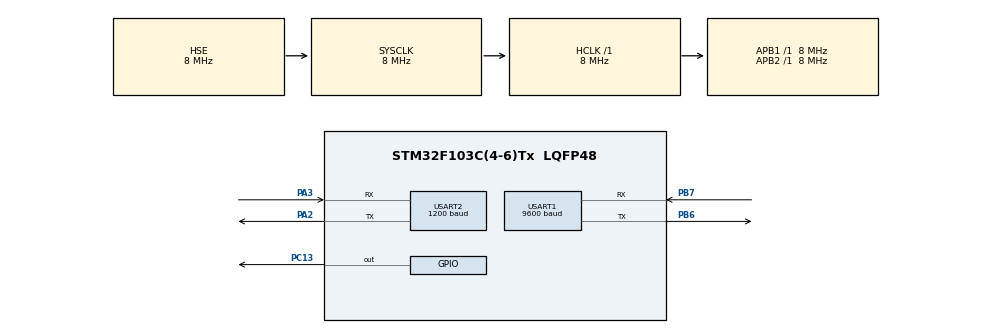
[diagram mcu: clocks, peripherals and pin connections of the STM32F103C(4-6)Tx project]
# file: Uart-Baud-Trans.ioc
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Mcu.Family=STM32F1
Mcu.Name=STM32F103C(4-6)Tx
Mcu.Package=LQFP48
NVIC.PriorityGroup=NVIC_PRIORITYGROUP_4
NVIC.USART1_IRQn=true\:0\:0\:false\:false\:true\:true\:true
NVIC.USART2_IRQn=true\:0\:0\:false\:false\:true\:true\:true
PA13.Mode=Serial_Wire
PA13.Signal=SYS_JTMS-SWDIO
PA14.Mode=Serial_Wire
PA14.Signal=SYS_JTCK-SWCLK
PA2.Mode=Asynchronous
PA2.Signal=USART2_TX
PA3.Mode=Asynchronous
PA3.Signal=USART2_RX
PB6.Mode=Asynchronous
PB6.Signal=USART1_TX
PB7.Mode=Asynchronous
PB7.Signal=USART1_RX
PC13-TAMPER-RTC.Signal=GPIO_Output
PD0-OSC_IN.Mode=HSE-External-Oscillator
PD0-OSC_IN.Signal=RCC_OSC_IN
PD1-OSC_OUT.Mode=HSE-External-Oscillator
PD1-OSC_OUT.Signal=RCC_OSC_OUT
ProjectManager.HeapSize=0x200
ProjectManager.StackSize=0x400
ProjectManager.TargetToolchain=MDK-ARM V5.27
RCC.AHBFreq_Value=8000000
RCC.APB1Freq_Value=8000000
RCC.APB1TimFreq_Value=8000000
RCC.APB2Freq_Value=8000000
RCC.APB2TimFreq_Value=8000000
RCC.HCLKFreq_Value=8000000
RCC.PLLSourceVirtual=RCC_PLLSOURCE_HSE
RCC.SYSCLKFreq_VALUE=8000000
RCC.SYSCLKSource=RCC_SYSCLKSOURCE_HSE
RCC.USBFreq_Value=16000000
USART1.BaudRate=9600
USART1.VirtualMode=VM_ASYNC
USART2.BaudRate=1200
USART2.VirtualMode=VM_ASYNC
board=custom

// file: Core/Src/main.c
/* USER CODE BEGIN Header */
/**
  ******************************************************************************
  * @file           : main.c
  * @brief          : Main program body
  ******************************************************************************
  * @attention
  *
  * <h2><center>&copy; Copyright (c) 2021 STMicroelectronics.
  * All rights reserved.</center></h2>
  *
  * This software component is licensed by ST under BSD 3-Clause license,
  * the "License"; You may not use this file except in compliance with the
  * License. You may obtain a copy of the License at:
  *                        opensource.org/licenses/BSD-3-Clause
  *
  ******************************************************************************
  */
/* USER CODE END Header */
#include "main.h"

/* USER CODE BEGIN Includes */
#include "circular-byte-buffer.h"

/* USER CODE END Includes */

UART_HandleTypeDef huart1;
UART_HandleTypeDef huart2;

void SystemClock_Config(void);
static void MX_GPIO_Init(void);
static void MX_USART1_UART_Init(void);
static void MX_USART2_UART_Init(void);

/* USER CODE BEGIN 0 */
CIRC_BBUF_DEF(uart1_tx, 256);
CIRC_BBUF_DEF(uart2_tx, 256);

uint8_t uart1_rx[256];
uint8_t uart2_rx[256];

void UART1_RxEventCallback(UART_HandleTypeDef *huart, uint16_t pos)
{
  uint16_t i;
  if (pos > 0) {
  	for (i = 0; i < pos; i++)
  	  circ_bbuf_push(&uart2_tx, uart1_rx[i]);

    HAL_GPIO_TogglePin(GPIOC, GPIO_PIN_13);
  }
	HAL_UARTEx_ReceiveToIdle_IT(&huart1, uart1_rx, sizeof(uart1_rx));
}

void UART2_RxEventCallback(UART_HandleTypeDef *huart, uint16_t pos)
{
  uint16_t i;
  if (pos > 0) {
  	for (i = 0; i < pos; i++)
  	  circ_bbuf_push(&uart1_tx, uart2_rx[i]);

    HAL_GPIO_TogglePin(GPIOC, GPIO_PIN_13);
  }
	HAL_UARTEx_ReceiveToIdle_IT(&huart2, uart2_rx, sizeof(uart2_rx));
}

void UART1_ErrorCallback(UART_HandleTypeDef *huart)
{
	HAL_UARTEx_ReceiveToIdle_IT(&huart1, uart1_rx, sizeof(uart1_rx));
}

void UART2_ErrorCallback(UART_HandleTypeDef *huart)
{
	HAL_UARTEx_ReceiveToIdle_IT(&huart2, uart2_rx, sizeof(uart2_rx));
}

/* USER CODE END 0 */

int main(void)
{

  /* MCU Configuration--------------------------------------------------------*/

  /* Reset of all peripherals, Initializes the Flash interface and the Systick. */
  HAL_Init();

  /* Configure the system clock */
  SystemClock_Config();

  /* Initialize all configured peripherals */
  MX_GPIO_Init();
  MX_USART1_UART_Init();
  MX_USART2_UART_Init();
  /* USER CODE BEGIN 2 */

  HAL_UART_RegisterRxEventCallback(&huart1, UART1_RxEventCallback);
  HAL_UART_RegisterRxEventCallback(&huart2, UART2_RxEventCallback);
  HAL_UART_RegisterCallback(&huart1, HAL_UART_ERROR_CB_ID, UART1_ErrorCallback);
  HAL_UART_RegisterCallback(&huart2, HAL_UART_ERROR_CB_ID, UART2_ErrorCallback);

  HAL_UARTEx_ReceiveToIdle_IT(&huart1, uart1_rx, sizeof(uart1_rx));
  HAL_UARTEx_ReceiveToIdle_IT(&huart2, uart2_rx, sizeof(uart2_rx));

  /* USER CODE END 2 */

  /* Infinite loop */
  /* USER CODE BEGIN WHILE */
  while (1)
  {
    uint8_t bdata;

    if (!circ_bbuf_pop(&uart1_tx, &bdata)) {
      HAL_UART_Transmit(&huart1, &bdata, 1, 500);
    }
    if (!circ_bbuf_pop(&uart2_tx, &bdata)) {
      HAL_UART_Transmit(&huart2, &bdata, 1, 500);
    }
    /* USER CODE END WHILE */

  }
}

void SystemClock_Config(void)
{
  RCC_OscInitTypeDef RCC_OscInitStruct = {0};
  RCC_ClkInitTypeDef RCC_ClkInitStruct = {0};

  /** Initializes the RCC Oscillators according to the specified parameters
  * in the RCC_OscInitTypeDef structure.
  */
  RCC_OscInitStruct.OscillatorType = RCC_OSCILLATORTYPE_HSE;
  RCC_OscInitStruct.HSEState = RCC_HSE_ON;
  RCC_OscInitStruct.PLL.PLLState = RCC_PLL_NONE;
  if (HAL_RCC_OscConfig(&RCC_OscInitStruct) != HAL_OK)
  {
    Error_Handler();
  }
  /** Initializes the CPU, AHB and APB buses clocks
  */
  RCC_ClkInitStruct.ClockType = RCC_CLOCKTYPE_HCLK|RCC_CLOCKTYPE_SYSCLK
                              |RCC_CLOCKTYPE_PCLK1|RCC_CLOCKTYPE_PCLK2;
  RCC_ClkInitStruct.SYSCLKSource = RCC_SYSCLKSOURCE_HSE;
  RCC_ClkInitStruct.AHBCLKDivider = RCC_SYSCLK_DIV1;
  RCC_ClkInitStruct.APB1CLKDivider = RCC_HCLK_DIV1;
  RCC_ClkInitStruct.APB2CLKDivider = RCC_HCLK_DIV1;

  if (HAL_RCC_ClockConfig(&RCC_ClkInitStruct, FLASH_LATENCY_0) != HAL_OK)
  {
    Error_Handler();
  }
}

static void MX_USART1_UART_Init(void)
{

  huart1.Instance = USART1;
  huart1.Init.BaudRate = 9600;
  huart1.Init.WordLength = UART_WORDLENGTH_8B;
  huart1.Init.StopBits = UART_STOPBITS_1;
  huart1.Init.Parity = UART_PARITY_NONE;
  huart1.Init.Mode = UART_MODE_TX_RX;
  huart1.Init.HwFlowCtl = UART_HWCONTROL_NONE;
  huart1.Init.OverSampling = UART_OVERSAMPLING_16;
  if (HAL_UART_Init(&huart1) != HAL_OK)
  {
    Error_Handler();
  }

}

static void MX_USART2_UART_Init(void)
{

  huart2.Instance = USART2;
  huart2.Init.BaudRate = 1200;
  huart2.Init.WordLength = UART_WORDLENGTH_8B;
  huart2.Init.StopBits = UART_STOPBITS_1;
  huart2.Init.Parity = UART_PARITY_NONE;
  huart2.Init.Mode = UART_MODE_TX_RX;
  huart2.Init.HwFlowCtl = UART_HWCONTROL_NONE;
  huart2.Init.OverSampling = UART_OVERSAMPLING_16;
  if (HAL_UART_Init(&huart2) != HAL_OK)
  {
    Error_Handler();
  }

}

static void MX_GPIO_Init(void)
{
  GPIO_InitTypeDef GPIO_InitStruct = {0};

  /* GPIO Ports Clock Enable */
  __HAL_RCC_GPIOC_CLK_ENABLE();
  __HAL_RCC_GPIOD_CLK_ENABLE();
  __HAL_RCC_GPIOA_CLK_ENABLE();
  __HAL_RCC_GPIOB_CLK_ENABLE();

  /*Configure GPIO pin Output Level */
  HAL_GPIO_WritePin(GPIOC, GPIO_PIN_13, GPIO_PIN_RESET);

  /*Configure GPIO pin : PC13 */
  GPIO_InitStruct.Pin = GPIO_PIN_13;
  GPIO_InitStruct.Mode = GPIO_MODE_OUTPUT_PP;
  GPIO_InitStruct.Pull = GPIO_NOPULL;
  GPIO_InitStruct.Speed = GPIO_SPEED_FREQ_LOW;
  HAL_GPIO_Init(GPIOC, &GPIO_InitStruct);

}

void Error_Handler(void)
{
  __disable_irq();
  while (1)
  {
  }
}

/************************ (C) COPYRIGHT STMicroelectronics *****END OF FILE****/
